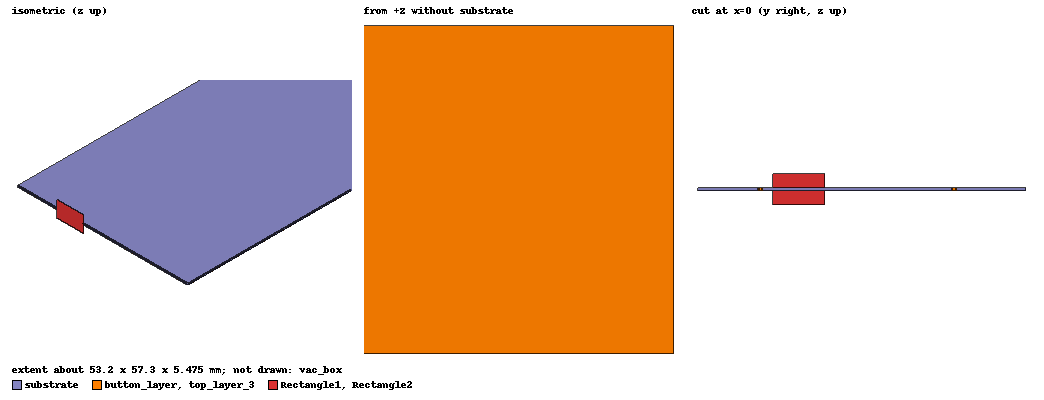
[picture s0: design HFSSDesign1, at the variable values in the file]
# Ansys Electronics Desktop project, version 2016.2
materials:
  vacuum: permittivity=1
  Rogers RT/duroid 5880 (tm): permittivity=2.2 dielectric_loss_tangent=0.0009
  copper: permeability=0.999991 conductivity=58000000

design HFSSDesign1 (HFSS, DrivenModal, model units mm)
options: Allow_Material_Override Calculate_Lossy_Dielectrics
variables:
  port1_len = 13.25mm
  a = 0.55mm
  port2_len = 13.25mm
  b = 0.4mm
  line = 4.7m
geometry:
  substrate [Rogers RT/duroid 5880 (tm)] = box(corner=(-14.25mm - 10mm -line, -10mm, 0mm), size=(28.5 mm+ 20mm + 2*line, (37.3 + 20) mm, 0.508mm))
  top_layer = box(corner=(-14.25mm, 0mm, 0.508mm), size=(28.5mm, 37.3mm, 0.017mm))
  box1 = box(corner=(11mm, 5.5mm, 0.508mm), size=(port1_len, 4.1mm, 0.017mm))
  top_layer_1 = box(corner=(11mm, 5.5mm+a, 0.508mm), size=(port1_len, 4.2mm - 2*a, 0.017mm))
  top_layer.subtract(box1)
  top_layer_1.unite(top_layer)
  box3 = box(corner=(-11mm-port2_len, 4.6mm, 0.508mm), size=(port2_len, 3.9mm, 0.017mm))
  box4 = box(corner=(-11mm-port2_len, 4.6mm+b, 0.508mm), size=(port2_len, 3.9mm-2*b, 0.017mm))
  top_layer_1.subtract(box3)
  top_layer_1.unite(box4)
  Via = cylinder(axis=Z, base_centre=(13.25mm, 1mm, 0mm), radius=0.5mm, height=0.7mm)
  Via_1..Via_17 = Via.duplicate_along_line(step=(-1.5mm, 0mm, 0mm), total=18)
  Via_18, Via_19 = Via.duplicate_along_line(step=(0mm, 1.5mm, 0mm), total=3)
  Via_19_1 = Via_19.duplicate_along_line(step=(0mm, 6.8mm, 0mm), total=2)
  Via_19_1_1..Via_19_1_16 = Via_19_1.duplicate_along_line(step=(0mm, 1.5mm, 0mm), total=17)
  Via_19_1_16_1..Via_19_1_16_10 = Via_19_1_16.duplicate_along_line(step=(-1.5mm, 0mm, 0mm), total=11)
  Via_19_1_16_10_1..Via_19_1_16_10_4 = Via_19_1_16_10.duplicate_along_line(step=(0mm, -1.5mm, 0mm), total=5)
  Via_19_1_8_1 = Via_19_1_8.duplicate_along_line(step=(-1.25mm, 0mm, 0mm), total=2)
  Via_19_1_8_1_1 = Via_19_1_8_1.duplicate_along_line(step=(0mm, 0.7mm, 0mm), total=2)
  Via_19_1_8_1.delete()
  Via_19_1_8_1_1_1, Via_19_1_8_1_1_2, Via_19_1_8_1_1_3 = Via_19_1_8_1_1.duplicate_along_line(step=(-1.5mm, 0mm, 0mm), total=4)
  Via_19_1_8_1_1_3_1 = Via_19_1_8_1_1_3.duplicate_along_line(step=(-5.52mm, 0mm, 0mm), total=2)
  Via_19_1_8_1_1_3_1_1, Via_19_1_8_1_1_3_1_2, Via_19_1_8_1_1_3_1_3 = Via_19_1_8_1_1_3_1.duplicate_along_line(step=(-1.25mm, 0mm, 0mm), total=4)
  Via_19_1_8_1_1_3_1_3_1..Via_19_1_8_1_1_3_1_3_10 = Via_19_1_8_1_1_3_1_3.duplicate_along_line(step=(0mm, -1.5mm, 0mm), total=11)
  Via_19_1_8_1_1_3_1_3_10_1 = Via_19_1_8_1_1_3_1_3_10.duplicate_along_line(step=(0mm, -4mm, 0mm), total=2)
  Via_19_1_8_1_1_3_1_3_10_1_1 = Via_19_1_8_1_1_3_1_3_10_1.duplicate_along_line(step=(0mm, -2mm, 0mm), total=2)
  Via_19_1_16_10_2_1 = Via_19_1_16_10_2.duplicate_along_line(step=(-1.25mm, 0mm, 0mm), total=2)
  Via_19_1_16_10_2_1_1 = Via_19_1_16_10_2_1.duplicate_along_line(step=(0mm, 0.7mm, 0mm), total=2)
  Via_19_1_16_10_2_1.delete()
  Via_19_1_16_10_2_1_1_1..Via_19_1_16_10_2_1_1_6 = Via_19_1_16_10_2_1_1.duplicate_along_line(step=(-1.5mm, 0mm, 0mm), total=7)
  Via_19_1_16_10_2_1_1_6_1..Via_19_1_16_10_2_1_1_6_15 = Via_19_1_16_10_2_1_1_6.duplicate_along_line(step=(0mm, -1.5mm, 0mm), total=16)
  Via_17_1, Via_17_2 = Via_17.duplicate_along_line(step=(0mm, 1.5mm, 0mm), total=3)
  Via_19_1_16_10_2_1_1_6_10_1 = Via_19_1_16_10_2_1_1_6_10.duplicate_along_line(step=(1.1mm, 0mm, 0mm), total=2)
  Via_19_1_16_10_2_1_1_6_10_1_1 = Via_19_1_16_10_2_1_1_6_10_1.duplicate_along_line(step=(0mm, 0.7mm, 0mm), total=2)
  Via_19_1_16_10_2_1_1_6_10_1.delete()
  Via_19_1_16_10_2_1_1_6_10_1_1_1 = Via_19_1_16_10_2_1_1_6_10_1_1.duplicate_along_line(step=(1.1mm, 0mm, 0mm), total=2)
  Via_19_1_16_10_2_1_1_6_10_1_1_1_1 = Via_19_1_16_10_2_1_1_6_10_1_1_1.duplicate_along_line(step=(6.93mm, 0mm, 0mm), total=2)
  vac_box [vacuum] = box(corner=(-14.25 mm- 10mm - line, -10mm, -10mm), size=(28.5mm + 20mm + 2*line, (37.3 + 20) mm, 20mm))
  Via_20 = Via.copy()
  Via_1_1 = Via_1.copy()
  Via_10_1 = Via_10.copy()
  Via_11_1 = Via_11.copy()
  Via_12_1 = Via_12.copy()
  Via_13_1 = Via_13.copy()
  Via_14_1 = Via_14.copy()
  Via_15_1 = Via_15.copy()
  Via_16_1 = Via_16.copy()
  Via_17_3 = Via_17.copy()
  Via_17_1_1 = Via_17_1.copy()
  Via_17_2_1 = Via_17_2.copy()
  Via_18_1 = Via_18.copy()
  Via_19_2 = Via_19.copy()
  Via_19_1_17 = Via_19_1.copy()
  Via_19_1_1_1 = Via_19_1_1.copy()
  Via_19_1_10_1 = Via_19_1_10.copy()
  Via_19_1_11_1 = Via_19_1_11.copy()
  Via_19_1_12_1 = Via_19_1_12.copy()
  Via_19_1_13_1 = Via_19_1_13.copy()
  Via_19_1_14_1 = Via_19_1_14.copy()
  Via_19_1_15_1 = Via_19_1_15.copy()
  Via_19_1_16_11 = Via_19_1_16.copy()
  Via_19_1_16_1_1 = Via_19_1_16_1.copy()
  Via_19_1_16_10_5 = Via_19_1_16_10.copy()
  Via_19_1_16_10_1_1 = Via_19_1_16_10_1.copy()
  Via_19_1_16_10_2_2 = Via_19_1_16_10_2.copy()
  Via_19_1_16_10_2_1_1_7 = Via_19_1_16_10_2_1_1.copy()
  Via_19_1_16_10_2_1_1_1_1 = Via_19_1_16_10_2_1_1_1.copy()
  Via_19_1_16_10_2_1_1_2_1 = Via_19_1_16_10_2_1_1_2.copy()
  Via_19_1_16_10_2_1_1_3_1 = Via_19_1_16_10_2_1_1_3.copy()
  Via_19_1_16_10_2_1_1_4_1 = Via_19_1_16_10_2_1_1_4.copy()
  Via_19_1_16_10_2_1_1_5_1 = Via_19_1_16_10_2_1_1_5.copy()
  Via_19_1_16_10_2_1_1_6_16 = Via_19_1_16_10_2_1_1_6.copy()
  Via_19_1_16_10_2_1_1_6_1_1 = Via_19_1_16_10_2_1_1_6_1.copy()
  Via_19_1_16_10_2_1_1_6_10_2 = Via_19_1_16_10_2_1_1_6_10.copy()
  Via_19_1_16_10_2_1_1_6_10_1_1_2 = Via_19_1_16_10_2_1_1_6_10_1_1.copy()
  Via_19_1_16_10_2_1_1_6_10_1_1_1_2 = Via_19_1_16_10_2_1_1_6_10_1_1_1.copy()
  Via_19_1_16_10_2_1_1_6_10_1_1_1_1_1 = Via_19_1_16_10_2_1_1_6_10_1_1_1_1.copy()
  Via_19_1_16_10_2_1_1_6_11_1 = Via_19_1_16_10_2_1_1_6_11.copy()
  Via_19_1_16_10_2_1_1_6_12_1 = Via_19_1_16_10_2_1_1_6_12.copy()
  Via_19_1_16_10_2_1_1_6_13_1 = Via_19_1_16_10_2_1_1_6_13.copy()
  Via_19_1_16_10_2_1_1_6_14_1 = Via_19_1_16_10_2_1_1_6_14.copy()
  Via_19_1_16_10_2_1_1_6_15_1 = Via_19_1_16_10_2_1_1_6_15.copy()
  Via_19_1_16_10_2_1_1_6_2_1 = Via_19_1_16_10_2_1_1_6_2.copy()
  Via_19_1_16_10_2_1_1_6_3_1 = Via_19_1_16_10_2_1_1_6_3.copy()
  Via_19_1_16_10_2_1_1_6_4_1 = Via_19_1_16_10_2_1_1_6_4.copy()
  Via_19_1_16_10_2_1_1_6_5_1 = Via_19_1_16_10_2_1_1_6_5.copy()
  Via_19_1_16_10_2_1_1_6_6_1 = Via_19_1_16_10_2_1_1_6_6.copy()
  Via_19_1_16_10_2_1_1_6_7_1 = Via_19_1_16_10_2_1_1_6_7.copy()
  Via_19_1_16_10_2_1_1_6_8_1 = Via_19_1_16_10_2_1_1_6_8.copy()
  Via_19_1_16_10_2_1_1_6_9_1 = Via_19_1_16_10_2_1_1_6_9.copy()
  Via_19_1_16_10_3_1 = Via_19_1_16_10_3.copy()
  Via_19_1_16_10_4_1 = Via_19_1_16_10_4.copy()
  Via_19_1_16_2_1 = Via_19_1_16_2.copy()
  Via_19_1_16_3_1 = Via_19_1_16_3.copy()
  Via_19_1_16_4_1 = Via_19_1_16_4.copy()
  Via_19_1_16_5_1 = Via_19_1_16_5.copy()
  Via_19_1_16_6_1 = Via_19_1_16_6.copy()
  Via_19_1_16_7_1 = Via_19_1_16_7.copy()
  Via_19_1_16_8_1 = Via_19_1_16_8.copy()
  Via_19_1_16_9_1 = Via_19_1_16_9.copy()
  Via_19_1_2_1 = Via_19_1_2.copy()
  Via_19_1_3_1 = Via_19_1_3.copy()
  Via_19_1_4_1 = Via_19_1_4.copy()
  Via_19_1_5_1 = Via_19_1_5.copy()
  Via_19_1_6_1 = Via_19_1_6.copy()
  Via_19_1_7_1 = Via_19_1_7.copy()
  Via_19_1_8_2 = Via_19_1_8.copy()
  Via_19_1_8_1_1_4 = Via_19_1_8_1_1.copy()
  Via_19_1_8_1_1_1_1 = Via_19_1_8_1_1_1.copy()
  Via_19_1_8_1_1_2_1 = Via_19_1_8_1_1_2.copy()
  Via_19_1_8_1_1_3_2 = Via_19_1_8_1_1_3.copy()
  Via_19_1_8_1_1_3_1_4 = Via_19_1_8_1_1_3_1.copy()
  Via_19_1_8_1_1_3_1_1_1 = Via_19_1_8_1_1_3_1_1.copy()
  Via_19_1_8_1_1_3_1_2_1 = Via_19_1_8_1_1_3_1_2.copy()
  Via_19_1_8_1_1_3_1_3_11 = Via_19_1_8_1_1_3_1_3.copy()
  Via_19_1_8_1_1_3_1_3_1_1 = Via_19_1_8_1_1_3_1_3_1.copy()
  Via_19_1_8_1_1_3_1_3_10_2 = Via_19_1_8_1_1_3_1_3_10.copy()
  Via_19_1_8_1_1_3_1_3_10_1_2 = Via_19_1_8_1_1_3_1_3_10_1.copy()
  Via_19_1_8_1_1_3_1_3_10_1_1_1 = Via_19_1_8_1_1_3_1_3_10_1_1.copy()
  Via_19_1_8_1_1_3_1_3_2_1 = Via_19_1_8_1_1_3_1_3_2.copy()
  Via_19_1_8_1_1_3_1_3_3_1 = Via_19_1_8_1_1_3_1_3_3.copy()
  Via_19_1_8_1_1_3_1_3_4_1 = Via_19_1_8_1_1_3_1_3_4.copy()
  Via_19_1_8_1_1_3_1_3_5_1 = Via_19_1_8_1_1_3_1_3_5.copy()
  Via_19_1_8_1_1_3_1_3_6_1 = Via_19_1_8_1_1_3_1_3_6.copy()
  Via_19_1_8_1_1_3_1_3_7_1 = Via_19_1_8_1_1_3_1_3_7.copy()
  Via_19_1_8_1_1_3_1_3_8_1 = Via_19_1_8_1_1_3_1_3_8.copy()
  Via_19_1_8_1_1_3_1_3_9_1 = Via_19_1_8_1_1_3_1_3_9.copy()
  Via_19_1_9_1 = Via_19_1_9.copy()
  Via_2_1 = Via_2.copy()
  Via_3_1 = Via_3.copy()
  Via_4_1 = Via_4.copy()
  Via_5_1 = Via_5.copy()
  Via_6_1 = Via_6.copy()
  Via_7_1 = Via_7.copy()
  Via_8_1 = Via_8.copy()
  Via_9_1 = Via_9.copy()
  substrate.subtract(Via_20, Via_1_1, Via_10_1, Via_11_1, Via_12_1, Via_13_1, Via_14_1, Via_15_1, Via_16_1, Via_17_3, Via_17_1_1, Via_17_2_1, Via_18_1, Via_19_2, Via_19_1_17, Via_19_1_1_1, Via_19_1_10_1, Via_19_1_11_1, Via_19_1_12_1, Via_19_1_13_1, Via_19_1_14_1, Via_19_1_15_1, Via_19_1_16_11, Via_19_1_16_1_1, Via_19_1_16_10_5, Via_19_1_16_10_1_1, Via_19_1_16_10_2_2, Via_19_1_16_10_2_1_1_7, Via_19_1_16_10_2_1_1_1_1, Via_19_1_16_10_2_1_1_2_1, Via_19_1_16_10_2_1_1_3_1, Via_19_1_16_10_2_1_1_4_1, Via_19_1_16_10_2_1_1_5_1, Via_19_1_16_10_2_1_1_6_16, Via_19_1_16_10_2_1_1_6_1_1, Via_19_1_16_10_2_1_1_6_10_2, Via_19_1_16_10_2_1_1_6_10_1_1_2, Via_19_1_16_10_2_1_1_6_10_1_1_1_2, Via_19_1_16_10_2_1_1_6_10_1_1_1_1_1, Via_19_1_16_10_2_1_1_6_11_1, Via_19_1_16_10_2_1_1_6_12_1, Via_19_1_16_10_2_1_1_6_13_1, Via_19_1_16_10_2_1_1_6_14_1, Via_19_1_16_10_2_1_1_6_15_1, Via_19_1_16_10_2_1_1_6_2_1, Via_19_1_16_10_2_1_1_6_3_1, Via_19_1_16_10_2_1_1_6_4_1, Via_19_1_16_10_2_1_1_6_5_1, Via_19_1_16_10_2_1_1_6_6_1, Via_19_1_16_10_2_1_1_6_7_1, Via_19_1_16_10_2_1_1_6_8_1, Via_19_1_16_10_2_1_1_6_9_1, Via_19_1_16_10_3_1, Via_19_1_16_10_4_1, Via_19_1_16_2_1, Via_19_1_16_3_1, Via_19_1_16_4_1, Via_19_1_16_5_1, Via_19_1_16_6_1, Via_19_1_16_7_1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)
  top_layer_1.subtract(Via, Via_1, Via_10..Via_17, Via_17_1, Via_17_2, Via_18, Via_19, Via_19_1, Via_19_1_1, Via_19_1_10..Via_19_1_16, Via_19_1_16_1, Via_19_1_16_10, Via_19_1_16_10_1, Via_19_1_16_10_2, Via_19_1_16_10_2_1_1, Via_19_1_16_10_2_1_1_1..Via_19_1_16_10_2_1_1_6, Via_19_1_16_10_2_1_1_6_1, Via_19_1_16_10_2_1_1_6_10, Via_19_1_16_10_2_1_1_6_10_1_1, Via_19_1_16_10_2_1_1_6_10_1_1_1, Via_19_1_16_10_2_1_1_6_10_1_1_1_1, Via_19_1_16_10_2_1_1_6_11..Via_19_1_16_10_2_1_1_6_15, Via_19_1_16_10_2_1_1_6_2..Via_19_1_16_10_2_1_1_6_9, Via_19_1_16_10_3, Via_19_1_16_10_4, Via_19_1_16_2..Via_19_1_16_9, Via_19_1_2..Via_19_1_8, Via_19_1_8_1_1, Via_19_1_8_1_1_1, Via_19_1_8_1_1_2, Via_19_1_8_1_1_3, Via_19_1_8_1_1_3_1, Via_19_1_8_1_1_3_1_1, Via_19_1_8_1_1_3_1_2, Via_19_1_8_1_1_3_1_3, Via_19_1_8_1_1_3_1_3_1, Via_19_1_8_1_1_3_1_3_10, Via_19_1_8_1_1_3_1_3_10_1, Via_19_1_8_1_1_3_1_3_10_1_1, Via_19_1_8_1_1_3_1_3_2..Via_19_1_8_1_1_3_1_3_9, Via_19_1_9, Via_2..Via_9)
  top_layer_2 = cylinder(axis=Z, base_centre=(13.25mm, 1mm, 0mm), radius=0.5mm, height=(0.508+0.017) mm)
  Via2 = cylinder(axis=Z, base_centre=(13.25mm, 1mm, 0mm), radius=0.4mm, height=0.508mm)
  top_layer_2.subtract(Via2)
  Via1_1..Via1_17 = top_layer_2.duplicate_along_line(step=(-1.5mm, 0mm, 0mm), total=18)
  Via1_18, Via1_19 = top_layer_2.duplicate_along_line(step=(0mm, 1.5mm, 0mm), total=3)
  Via1_19_1 = Via1_19.duplicate_along_line(step=(0mm, 6.8mm, 0mm), total=2)
  Via1_19_1_1..Via1_19_1_16 = Via1_19_1.duplicate_along_line(step=(0mm, 1.5mm, 0mm), total=17)
  Via1_19_1_16_1..Via1_19_1_16_10 = Via1_19_1_16.duplicate_along_line(step=(-1.5mm, 0mm, 0mm), total=11)
  Via1_19_1_8_1 = Via1_19_1_8.duplicate_along_line(step=(-1.25mm, 0.7mm, 0mm), total=2)
  Via1_19_1_8_1_1, Via1_19_1_8_1_2, Via1_19_1_8_1_3 = Via1_19_1_8_1.duplicate_along_line(step=(-1.5mm, 0mm, 0mm), total=4)
  Via1_19_1_8_1_3_1 = Via1_19_1_8_1_3.duplicate_along_line(step=(-5.52mm, 0mm, 0mm), total=2)
  Via1_19_1_8_1_3_1_1, Via1_19_1_8_1_3_1_2, Via1_19_1_8_1_3_1_3 = Via1_19_1_8_1_3_1.duplicate_along_line(step=(-1.25mm, 0mm, 0mm), total=4)
  Via1_19_1_16_10_1..Via1_19_1_16_10_4 = Via1_19_1_16_10.duplicate_along_line(step=(0mm, -1.5mm, 0mm), total=5)
  Via1_19_1_16_10_2_1 = Via1_19_1_16_10_2.duplicate_along_line(step=(-1.25mm, 0.7mm, 0mm), total=2)
  Via1_19_1_16_10_2_1_1..Via1_19_1_16_10_2_1_6 = Via1_19_1_16_10_2_1.duplicate_along_line(step=(-1.5mm, 0mm, 0mm), total=7)
  Via1_19_1_16_10_2_1_6_1..Via1_19_1_16_10_2_1_6_15 = Via1_19_1_16_10_2_1_6.duplicate_along_line(step=(0mm, -1.5mm, 0mm), total=16)
  Via1_19_1_16_10_2_1_6_9_1 = Via1_19_1_16_10_2_1_6_9.duplicate_along_line(step=(1.1mm, -0.8mm, 0mm), total=2)
  Via1_19_1_16_10_2_1_6_9_1_1 = Via1_19_1_16_10_2_1_6_9_1.duplicate_along_line(step=(1.1mm, 0mm, 0mm), total=2)
  Via1_19_1_8_1_3_1_3_1..Via1_19_1_8_1_3_1_3_10 = Via1_19_1_8_1_3_1_3.duplicate_along_line(step=(0mm, -1.5mm, 0mm), total=11)
  Via1_19_1_8_1_3_1_3_3_1 = Via1_19_1_8_1_3_1_3_3.duplicate_along_line(step=(-1.1mm, -0.8mm, 0mm), total=2)
  Via1_19_1_8_1_3_1_3_10_1 = Via1_19_1_8_1_3_1_3_10.duplicate_along_line(step=(0mm, -4mm, 0mm), total=2)
  Via1_19_1_8_1_3_1_3_10_1_1 = Via1_19_1_8_1_3_1_3_10_1.duplicate_along_line(step=(0mm, -2mm, 0mm), total=2)
  Via1_17_1, Via1_17_2 = Via1_17.duplicate_along_line(step=(0mm, 1.5mm, 0mm), total=3)
  Rectangle1 = rectangle(corner=(24.25mm+line, (6.05-3) mm, (0.525-3) mm), y_size=(3.1+6) mm, z_size=(-0.525+6) mm)
  Rectangle2 = rectangle(corner=(-24.25mm - line, (6.05-3) mm, (0.525-3) mm), y_size=(3.1+6) mm, z_size=(-0.525+6) mm)
  top_layer_2.unite(Via1_1..Via1_17, Via1_17_1, Via1_17_2, Via1_18, Via1_19, Via1_19_1, Via1_19_1_1..Via1_19_1_8, Via1_19_1_8_1, Via1_19_1_8_1_1, Via1_19_1_8_1_2, Via1_19_1_8_1_3, Via1_19_1_8_1_3_1, Via1_19_1_8_1_3_1_1, Via1_19_1_8_1_3_1_2, Via1_19_1_8_1_3_1_3, Via1_19_1_8_1_3_1_3_1, Via1_19_1_8_1_3_1_3_2, Via1_19_1_8_1_3_1_3_3, Via1_19_1_8_1_3_1_3_3_1, Via1_19_1_8_1_3_1_3_4..Via1_19_1_8_1_3_1_3_10, Via1_19_1_8_1_3_1_3_10_1, Via1_19_1_8_1_3_1_3_10_1_1, Via1_19_1_9..Via1_19_1_16, Via1_19_1_16_1..Via1_19_1_16_10, Via1_19_1_16_10_1, Via1_19_1_16_10_2, Via1_19_1_16_10_2_1, Via1_19_1_16_10_2_1_1..Via1_19_1_16_10_2_1_6, Via1_19_1_16_10_2_1_6_1..Via1_19_1_16_10_2_1_6_9, Via1_19_1_16_10_2_1_6_9_1, Via1_19_1_16_10_2_1_6_9_1_1, Via1_19_1_16_10_2_1_6_10..Via1_19_1_16_10_2_1_6_15, Via1_19_1_16_10_3, Via1_19_1_16_10_4, top_layer_1)
  button_layer [copper] = box(corner=(-14.25mm - 10mm -line, -10mm, 0mm), size=(48.5 mm  + 2*line, 57.3mm, -0.017mm))
  top_layer_3 [copper] = box(corner=((14.25 +10) mm, 6.05mm, 0.508mm), size=(4.7mm, 3.1mm, 0.017mm))
  landa_by_4_2 = box(corner=((-14.25 -10) mm, 5mm, 0.508mm), size=(-4.7mm, 3.1mm, 0.017mm))
  top_layer_3.unite(landa_by_4_2, top_layer_2)
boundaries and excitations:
  1: Lumped Port Objects=Rectangle1 Modes{Mode1{IntLine{centre of Rectangle1.face -> middle of Rectangle1.edge(z opposite corner)} CharImp=Zpi}} FullResistance=37ohm FullReactance=0ohm
  2: Lumped Port Objects=Rectangle2 Modes{Mode1{IntLine{top_layer_3.vertex(3 of 8) -> middle of Rectangle2.edge(z opposite corner)} CharImp=Zpi}} FullResistance=37ohm FullReactance=0ohm
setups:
  Setup1: HfssDriven Frequency=11.5GHz MaxDeltaS=0.02 MaximumPasses=6 MinimumPasses=1 MinimumConvergedPasses=1 PercentRefinement=30 BasisOrder=1 PortAccuracy=2
    sweep Sweep: 10GHz to 13GHz step 0.02GHz; Type=Interpolating InterpTolerance=0.5 InterpMaxSolns=250 InterpUsePortImped=false
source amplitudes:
  1:1: 1W 0deg
  2:1: 0W 0deg
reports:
  XY Plot 1: dB(S(1,1)), dB(S(1,2)) vs Freq on Setup1 : Sweep
  XY Plot 2: dB20(Z(1,1)) vs Freq on Setup1 : Sweep
